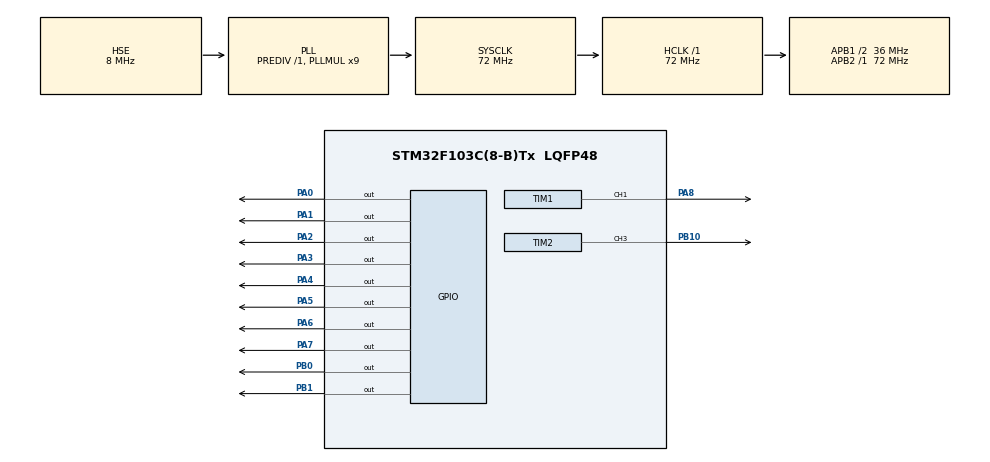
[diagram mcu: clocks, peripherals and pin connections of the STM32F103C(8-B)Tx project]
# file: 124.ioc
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Dma.Request0=TIM2_CH3
Dma.TIM2_CH3.0.Direction=DMA_PERIPH_TO_MEMORY
Dma.TIM2_CH3.0.Instance=DMA1_Channel1
Dma.TIM2_CH3.0.MemDataAlignment=DMA_MDATAALIGN_HALFWORD
Dma.TIM2_CH3.0.MemInc=DMA_MINC_ENABLE
Dma.TIM2_CH3.0.Mode=DMA_NORMAL
Dma.TIM2_CH3.0.PeriphDataAlignment=DMA_PDATAALIGN_HALFWORD
Dma.TIM2_CH3.0.PeriphInc=DMA_PINC_DISABLE
Dma.TIM2_CH3.0.Priority=DMA_PRIORITY_LOW
Mcu.Family=STM32F1
Mcu.Name=STM32F103C(8-B)Tx
Mcu.Package=LQFP48
NVIC.DMA1_Channel1_IRQn=true\:0\:0\:false\:false\:true\:false\:true\:true
NVIC.PriorityGroup=NVIC_PRIORITYGROUP_4
NVIC.TIM2_IRQn=true\:0\:0\:false\:false\:true\:true\:true\:true
PA0-WKUP.Signal=GPIO_Output
PA1.Signal=GPIO_Output
PA13.Mode=Serial_Wire
PA13.Signal=SYS_JTMS-SWDIO
PA14.Mode=Serial_Wire
PA14.Signal=SYS_JTCK-SWCLK
PA2.Signal=GPIO_Output
PA3.Signal=GPIO_Output
PA4.Signal=GPIO_Output
PA5.GPIO_PuPd=GPIO_PULLUP
PA5.PinState=GPIO_PIN_SET
PA5.Signal=GPIO_Output
PA6.Signal=GPIO_Output
PA7.Signal=GPIO_Output
PA8.Signal=S_TIM1_CH1
PB0.Signal=GPIO_Output
PB1.Signal=GPIO_Output
PB10.Signal=S_TIM2_CH3
PC14-OSC32_IN.Mode=LSE-External-Oscillator
PC14-OSC32_IN.Signal=RCC_OSC32_IN
PC15-OSC32_OUT.Mode=LSE-External-Oscillator
PC15-OSC32_OUT.Signal=RCC_OSC32_OUT
PD0-OSC_IN.Mode=HSE-External-Oscillator
PD0-OSC_IN.Signal=RCC_OSC_IN
PD1-OSC_OUT.Mode=HSE-External-Oscillator
PD1-OSC_OUT.Signal=RCC_OSC_OUT
ProjectManager.HeapSize=0x200
ProjectManager.StackSize=0x400
ProjectManager.TargetToolchain=MDK-ARM V5.32
RCC.AHBFreq_Value=72000000
RCC.APB1CLKDivider=RCC_HCLK_DIV2
RCC.APB1Freq_Value=36000000
RCC.APB1TimFreq_Value=72000000
RCC.APB2Freq_Value=72000000
RCC.APB2TimFreq_Value=72000000
RCC.HCLKFreq_Value=72000000
RCC.PLLMUL=RCC_PLL_MUL9
RCC.PLLSourceVirtual=RCC_PLLSOURCE_HSE
RCC.SYSCLKFreq_VALUE=72000000
RCC.SYSCLKSource=RCC_SYSCLKSOURCE_PLLCLK
RCC.USBFreq_Value=72000000
SH.S_TIM1_CH1.0=TIM1_CH1,PWM Generation1 CH1
SH.S_TIM2_CH3.0=TIM2_CH3,PWM Generation3 CH3
TIM1.Channel-PWM\ Generation1\ CH1=TIM_CHANNEL_1
TIM1.CounterMode=TIM_COUNTERMODE_UP
TIM1.Period=20000
TIM1.Prescaler=71
TIM2.AutoReloadPreload=TIM_AUTORELOAD_PRELOAD_ENABLE
TIM2.Channel-PWM\ Generation3\ CH3=TIM_CHANNEL_3
TIM2.OCFastMode_PWM-PWM\ Generation3\ CH3=TIM_OCFAST_ENABLE
TIM2.Period=80
VP_TIM1_VS_ClockSourceINT.Mode=Internal
VP_TIM2_VS_ClockSourceINT.Mode=Internal
board=custom

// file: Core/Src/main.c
/* USER CODE BEGIN Header */
/**
 ******************************************************************************
 * @file           : main.c
 * @brief          : Main program body
 ******************************************************************************
 * @attention
 *
 * Copyright (c) 2023 STMicroelectronics.
 * All rights reserved.
 *
 * This software is licensed under terms that can be found in the LICENSE file
 * in the root directory of this software component.
 * If no LICENSE file comes with this software, it is provided AS-IS.
 *
 ******************************************************************************
 */
/* USER CODE END Header */
#include "main.h"
#include "dma.h"
#include "tim.h"
#include "gpio.h"

/* USER CODE BEGIN Includes */
#include "GRB.h"
/* USER CODE END Includes */

void SystemClock_Config(void);

int main(void)
{

  /* MCU Configuration--------------------------------------------------------*/

  /* Reset of all peripherals, Initializes the Flash interface and the Systick. */
  HAL_Init();

  /* Configure the system clock */
  SystemClock_Config();

  /* Initialize all configured peripherals */
  MX_GPIO_Init();
  MX_DMA_Init();
  MX_TIM2_Init();
  MX_TIM1_Init();
  /* USER CODE BEGIN 2 */

		HAL_GPIO_WritePin(GPIOA,GPIO_PIN_0,GPIO_PIN_SET);
		HAL_GPIO_WritePin(GPIOA,GPIO_PIN_1,GPIO_PIN_SET);
		HAL_GPIO_WritePin(GPIOA,GPIO_PIN_2,GPIO_PIN_SET);
		HAL_GPIO_WritePin(GPIOA,GPIO_PIN_3,GPIO_PIN_SET);
		HAL_GPIO_WritePin(GPIOA,GPIO_PIN_4,GPIO_PIN_SET);
		HAL_GPIO_WritePin(GPIOA,GPIO_PIN_5,GPIO_PIN_SET);
		HAL_GPIO_WritePin(GPIOA,GPIO_PIN_6,GPIO_PIN_SET);
		HAL_GPIO_WritePin(GPIOA,GPIO_PIN_7,GPIO_PIN_SET);

		HAL_GPIO_WritePin(GPIOB,GPIO_PIN_0,GPIO_PIN_SET);
		HAL_GPIO_WritePin(GPIOB,GPIO_PIN_1,GPIO_PIN_SET);

		HAL_TIM_Base_Start(&htim1);
		TIM1->CCR1=2000;
		HAL_TIM_PWM_Start(&htim1,TIM_CHANNEL_1);
//	HAL_TIM_Base_Start(&htim2);
//	HAL_TIM_PWM_Start(&htim2,TIM_CHANNEL_3);
  /* USER CODE END 2 */

  /* Infinite loop */
  /* USER CODE BEGIN WHILE */
  while (1)
  {

		full(255,0,0);
		chai32();
		Send(&htim2,TIM_CHANNEL_3);
		HAL_Delay(1000);

    /* USER CODE END WHILE */

  }
}

void SystemClock_Config(void)
{
  RCC_OscInitTypeDef RCC_OscInitStruct = {0};
  RCC_ClkInitTypeDef RCC_ClkInitStruct = {0};

  /** Initializes the RCC Oscillators according to the specified parameters
  * in the RCC_OscInitTypeDef structure.
  */
  RCC_OscInitStruct.OscillatorType = RCC_OSCILLATORTYPE_HSE;
  RCC_OscInitStruct.HSEState = RCC_HSE_ON;
  RCC_OscInitStruct.HSEPredivValue = RCC_HSE_PREDIV_DIV1;
  RCC_OscInitStruct.HSIState = RCC_HSI_ON;
  RCC_OscInitStruct.PLL.PLLState = RCC_PLL_ON;
  RCC_OscInitStruct.PLL.PLLSource = RCC_PLLSOURCE_HSE;
  RCC_OscInitStruct.PLL.PLLMUL = RCC_PLL_MUL9;
  if (HAL_RCC_OscConfig(&RCC_OscInitStruct) != HAL_OK)
  {
    Error_Handler();
  }

  /** Initializes the CPU, AHB and APB buses clocks
  */
  RCC_ClkInitStruct.ClockType = RCC_CLOCKTYPE_HCLK|RCC_CLOCKTYPE_SYSCLK
                              |RCC_CLOCKTYPE_PCLK1|RCC_CLOCKTYPE_PCLK2;
  RCC_ClkInitStruct.SYSCLKSource = RCC_SYSCLKSOURCE_PLLCLK;
  RCC_ClkInitStruct.AHBCLKDivider = RCC_SYSCLK_DIV1;
  RCC_ClkInitStruct.APB1CLKDivider = RCC_HCLK_DIV2;
  RCC_ClkInitStruct.APB2CLKDivider = RCC_HCLK_DIV1;

  if (HAL_RCC_ClockConfig(&RCC_ClkInitStruct, FLASH_LATENCY_2) != HAL_OK)
  {
    Error_Handler();
  }
}

void Error_Handler(void)
{
  __disable_irq();
  while (1)
  {
  }
}
